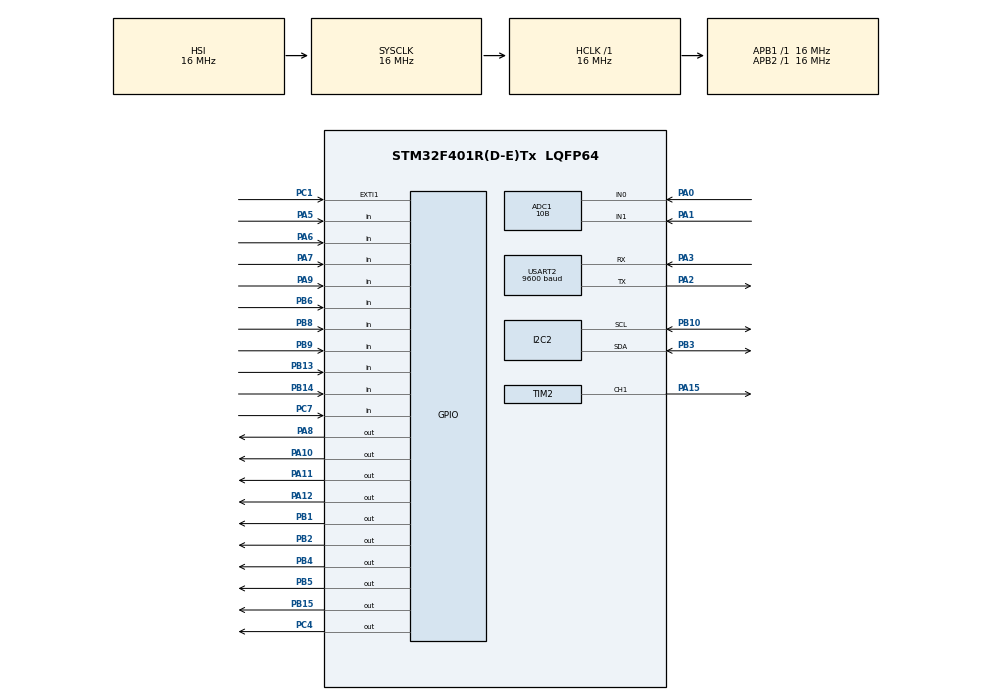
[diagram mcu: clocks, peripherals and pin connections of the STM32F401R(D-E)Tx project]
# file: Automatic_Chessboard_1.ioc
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ADC1.Channel-0\#ChannelRegularConversion=ADC_CHANNEL_0
ADC1.Channel-1\#ChannelRegularConversion=ADC_CHANNEL_1
ADC1.ClockPrescaler=ADC_CLOCK_SYNC_PCLK_DIV4
ADC1.ContinuousConvMode=ENABLE
ADC1.DMAContinuousRequests=ENABLE
ADC1.DiscontinuousConvMode=DISABLE
ADC1.NbrOfConversion=2
ADC1.NbrOfConversionFlag=1
ADC1.Rank-0\#ChannelRegularConversion=1
ADC1.Rank-1\#ChannelRegularConversion=2
ADC1.Resolution=ADC_RESOLUTION_10B
ADC1.SamplingTime-0\#ChannelRegularConversion=ADC_SAMPLETIME_480CYCLES
ADC1.SamplingTime-1\#ChannelRegularConversion=ADC_SAMPLETIME_480CYCLES
ADC1.ScanConvMode=ENABLE
ADC1.master=1
Dma.ADC1.0.Direction=DMA_PERIPH_TO_MEMORY
Dma.ADC1.0.FIFOMode=DMA_FIFOMODE_DISABLE
Dma.ADC1.0.Instance=DMA2_Stream0
Dma.ADC1.0.MemDataAlignment=DMA_MDATAALIGN_WORD
Dma.ADC1.0.MemInc=DMA_MINC_ENABLE
Dma.ADC1.0.Mode=DMA_CIRCULAR
Dma.ADC1.0.PeriphDataAlignment=DMA_PDATAALIGN_WORD
Dma.ADC1.0.PeriphInc=DMA_PINC_DISABLE
Dma.ADC1.0.Priority=DMA_PRIORITY_LOW
Dma.Request0=ADC1
Mcu.Family=STM32F4
Mcu.Name=STM32F401R(D-E)Tx
Mcu.Package=LQFP64
NVIC.DMA2_Stream0_IRQn=true\:0\:0\:false\:false\:true\:false\:true
NVIC.EXTI1_IRQn=true\:0\:0\:false\:false\:true\:true\:true
NVIC.PriorityGroup=NVIC_PRIORITYGROUP_4
NVIC.TIM3_IRQn=true\:0\:0\:false\:false\:true\:true\:true
NVIC.TIM4_IRQn=true\:0\:0\:false\:false\:true\:true\:true
PA0-WKUP.Signal=ADCx_IN0
PA1.Signal=ADCx_IN1
PA10.Signal=GPIO_Output
PA11.Signal=GPIO_Output
PA12.Signal=GPIO_Output
PA15.Signal=S_TIM2_CH1_ETR
PA2.Mode=Asynchronous
PA2.Signal=USART2_TX
PA3.Mode=Asynchronous
PA3.Signal=USART2_RX
PA5.Signal=GPIO_Input
PA6.Signal=GPIO_Input
PA7.Signal=GPIO_Input
PA8.Signal=GPIO_Output
PA9.Signal=GPIO_Input
PB1.Signal=GPIO_Output
PB10.Mode=I2C
PB10.Signal=I2C2_SCL
PB13.Signal=GPIO_Input
PB14.Signal=GPIO_Input
PB15.Signal=GPIO_Output
PB2.Signal=GPIO_Output
PB3.Mode=I2C
PB3.Signal=I2C2_SDA
PB4.Signal=GPIO_Output
PB5.Signal=GPIO_Output
PB6.Signal=GPIO_Input
PB8.Signal=GPIO_Input
PB9.Signal=GPIO_Input
PC1.Signal=GPXTI1
PC4.Signal=GPIO_Output
PC7.Signal=GPIO_Input
ProjectManager.HeapSize=0x200
ProjectManager.StackSize=0x400
ProjectManager.TargetToolchain=SW4STM32
RCC.AHBFreq_Value=16000000
RCC.APB1Freq_Value=16000000
RCC.APB2Freq_Value=16000000
RCC.CortexFreq_Value=16000000
RCC.HSE_VALUE=25000000
RCC.HSI_VALUE=16000000
RCC.LSE_VALUE=32768
RCC.SYSCLKFreq_VALUE=16000000
RCC.VCOOutputFreq_Value=192000000
SH.ADCx_IN0.0=ADC1_IN0,IN0
SH.ADCx_IN1.0=ADC1_IN1,IN1
SH.S_TIM2_CH1_ETR.0=TIM2_CH1,PWM Generation1 CH1
TIM2.Channel-PWM\ Generation1\ CH1=TIM_CHANNEL_1
TIM2.Period=1000-1
TIM2.Prescaler=320-1
TIM3.Period=999
TIM3.Prescaler=15999
TIM4.Period=999
TIM4.Prescaler=15999
USART2.BaudRate=9600
USART2.VirtualMode=VM_ASYNC
VP_TIM2_VS_ClockSourceINT.Mode=Internal
VP_TIM3_VS_ClockSourceINT.Mode=Internal
VP_TIM4_VS_ClockSourceINT.Mode=Internal
board=custom

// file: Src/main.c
/* USER CODE BEGIN Header */
/**
  ******************************************************************************
  * @file           : main.c
  * @brief          : Main program body
  ******************************************************************************
  * @attention
  *
  * <h2><center>&copy; Copyright (c) 2019 STMicroelectronics.
  * All rights reserved.</center></h2>
  *
  * This software component is licensed by ST under BSD 3-Clause license,
  * the "License"; You may not use this file except in compliance with the
  * License. You may obtain a copy of the License at:
  *                        opensource.org/licenses/BSD-3-Clause
  *
  ******************************************************************************
  */
/* USER CODE END Header */

#include "main.h"
#include "adc.h"
#include "dma.h"
#include "i2c.h"
#include "tim.h"
#include "usart.h"
#include "gpio.h"

/* USER CODE BEGIN Includes */
#include "chess_engine/Chess.h"
#include "axis_manager_stm32f4/axis_manager.h"
#include "magnetic_grid_interface_stm32/API_magneticGrid.h"
#include "choice_stm32f4/scelta.h"
/* USER CODE END Includes */

/* USER CODE BEGIN PV */
int MINIMAX_DEPTH = 1;

enum status{
	init=0,
	player_control=1,
	elaboration = 2,
	choose_piece  = 3,
	error = 4,
	end_game = 5
} current_status,prev_stat,origin_error;

int GAME = 0;
int SETTINGS = 1;
/** holds the current game state:
	  *	0 - game isn't over
	  * 1 - game is over with TIE
	  * 2 - game is over with WIN
	  * 3 - game is over with LOOSE */
int GAME_STATUS = 0;
/** 1 - two players mode
	  * 2(0) - player vs. AI mode */
	int TWO_PLAYERS_MODE = 0;
/** 0 - black
	  * 1 - white */
	int WHITE_TURN = 1;
/** 1 - player is white
	  * 0 - player is black */
	int PLAYER_WHITE = 0;
/** the board */

//----Game settings----//
/** 0 - no check
 *  1 - check on X player */
int CHECK_ON_WHITE = 0;
int CHECK_ON_BLACK = 0;
/* USER CODE END PV */

void SystemClock_Config(void);

/* USER CODE BEGIN 0 */
char board[BOARD_SIZE][BOARD_SIZE];
char info_message[16] = "";
char error_message[16];
char end_message[16];
char solver_message[16];
char value_ch;

Axis_manager* axis_manager;
magnetic_grid_manager* grid_manager;
menu_manager* menu_man;
int menu_ch=0;
int counter = 30;
int single_variation = 1;
int ch_i,ch_j;

int check_coherence(char board[BOARD_SIZE][BOARD_SIZE],magnetic_grid_manager* grid_manager){
	int i,j,tmp;
	for(i = 0;i < 8;i++){
		if(!PLAYER_WHITE){
			tmp = i;
			i =7-i;
		}
		for(j =0;j<8;j++){
			if((board[j][i] == EMPTY && (grid_manager->magnetic_grid)[i][j] == 1) ||
					(board[j][i] != EMPTY && (grid_manager->magnetic_grid)[i][j] == 0)){
				ch_i = i;
				ch_j = j;
				return 0;
			}
		}
		if(!PLAYER_WHITE)i =tmp;
	}
	return 1;
}

/* USER CODE END 0 */

int main(void)
{

  /* MCU Configuration--------------------------------------------------------*/

  /* Reset of all peripherals, Initializes the Flash interface and the Systick. */
  HAL_Init();

  /* Configure the system clock */
  SystemClock_Config();

  /* Initialize all configured peripherals */
  MX_GPIO_Init();
  MX_DMA_Init();
  MX_ADC1_Init();
  MX_I2C2_Init();
  MX_TIM2_Init();
  MX_TIM3_Init();
  MX_TIM4_Init();
  MX_USART2_UART_Init();
  /* USER CODE BEGIN 2 */

  	axis_manager = axis_manager_init(&htim2,100,GPIOB,GPIO_PIN_1,GPIOB,GPIO_PIN_2,3,GPIOC,GPIO_PIN_8,GPIOC,GPIO_PIN_5,3,GPIOB,GPIOB,GPIO_PIN_13,GPIO_PIN_14);
	grid_manager = init_magnetic_grid();
	menu_man = menu_manager_init(hadc1);

	HAL_ADC_Start_DMA(&hadc1,menu_man->raw_values,2);

	HAL_TIM_PWM_Start(&htim2,TIM_CHANNEL_1);

	char tmp[MAXCHAR];
	char color_choice[2][MAXCHAR];
	strcpy(color_choice[0],"BLACK\0");
	strcpy(color_choice[1],"WHITE\0");
	char start_choice[1][MAXCHAR];
	strcpy(start_choice[0],"Press to Start\0");
	char piece_choice[4][MAXCHAR];
	strcpy(piece_choice[0],"QUEEN\0");
	strcpy(piece_choice[1],"KNIGHT\0");
	strcpy(piece_choice[2],"BISHOP\0");
	strcpy(piece_choice[3],"ROOK\0");
	int piece_ch = 0;

	createMenu(menu_man,"Choose color\0",color_choice,2,&PLAYER_WHITE,1);
	createMenu(menu_man,"Are you ready?\0",start_choice,1,NULL,1);
	createMenu(menu_man,"Piece Choose\0",piece_choice,4,&piece_ch,0);

	prev_stat = init;
	init_board(board);

	lcd_send_string("Reset Motors'",1);
	HAL_Delay(10);
	lcd_send_string("Position",2);
	HAL_Delay(10);

	axis_manager_reset_position(axis_manager);

    /* EXTI interrupt init*/
      HAL_NVIC_SetPriority(EXTI1_IRQn, 0, 0);
      HAL_NVIC_EnableIRQ(EXTI1_IRQn);

	read_magnetic_grid(grid_manager,0);
	if(!check_restoring(grid_manager)){
		current_status = error;
		htim3.Init.Prescaler = 15999;
		htim3.Init.Period = 999;
		HAL_TIM_Base_Start_IT(&htim3);
		origin_error = init;
		sprintf(error_message,"Illegal init");
		sprintf(solver_message,"Repos %c%d",'H'-ch_j,8-ch_i);
	}
	else {
		current_status = init;
	    show_menu(menu_man,0,0);
	}

  /* USER CODE END 2 */

  /* Infinite loop */
  while (1)
  {

    /* USER CODE BEGIN 3 */
	  if(prev_stat != current_status){
	  		  lcd_clear();
	  		  HAL_Delay(10);
	  		  if(current_status == init){
	  			  if(prev_stat == end_game || prev_stat == error){
	  				  	  	init_board(board);
	  					  	reset_magnetic_grid(grid_manager);
	  					  	lcd_send_string("Reset Motors'",1);
	  					  	HAL_Delay(10);
	  					  	lcd_send_string("Position",2);
	  					  	HAL_Delay(10);
	  					  	axis_manager_reset_position(axis_manager);
	  			  }
	  			if(prev_stat == end_game  && !check_restoring(grid_manager)){
	  					current_status = error;
	  					htim3.Init.Prescaler = 15999;
	  					htim3.Init.Period = 999;
	  					HAL_TIM_Base_Start_IT(&htim3);
	  					origin_error = init;

	  					sprintf(error_message,"Illegal init");
	  					sprintf(solver_message,"Repos %c%d",'H'-ch_j,8-ch_i);
	  			}
	  			  show_menu(menu_man,0,0);
	  			  HAL_Delay(10);
	  			  reset_magnetic_grid(grid_manager);
	  		  }
	  		  else if(current_status == choose_piece) show_menu(menu_man,2,0);
	  		prev_stat = current_status;

	  }

	if ( current_status == init )
	{
		DO_DEBUG
		(
			printf("user color is: %d\n", PLAYER_WHITE);
			printf("minmax depth is: %d\n", MINIMAX_DEPTH);
			printf("next player is: %d\n", WHITE_TURN);
			printf("game mode is: %d\n", TWO_PLAYERS_MODE);
		)
		if(menu_ch){
			next_menu(menu_man);
			menu_ch = 0;
		}
		else change_menu(menu_man);
		change_choice(menu_man);
	}
	else if ( current_status == player_control )
	{
		lcd_send_string ("Player turn\0", 1);
		lcd_send_string (info_message, 2);

		HAL_Delay(10);
	}
	else if(current_status == elaboration){
		lcd_send_string ("Elaboration\0", 1);
		play_computer_turn(board);

		read_magnetic_grid(grid_manager,0);
		if(check_coherence(board,grid_manager)){
			update_magnetic_grid(grid_manager);
			single_variation = 1;
			current_status = player_control;
			htim3.Init.Prescaler = 15999;
			htim3.Init.Period = 99;
			HAL_TIM_Base_Start_IT(&htim3);
		}
		else{
			current_status = error;
			origin_error = elaboration;
			strcpy(solver_message,info_message);
			sprintf(error_message,"Error piece");
			htim3.Init.Prescaler = 15999;
			htim3.Init.Period = 9999;
			HAL_TIM_Base_Start_IT(&htim3);
		}

		if ( GAME && (GAME_STATUS = game_over(board)) ) {
			GAME = 0;
		}
		if( !GAME && !SETTINGS ) // end the game
		{
			// declare_winner();
			if(GAME_STATUS == 1) strcpy(end_message,"Tie match");
			else if(GAME_STATUS == 2) strcpy(end_message,"White wins");
			else if(GAME_STATUS == 3) strcpy(end_message,"Black wins");
			current_status = end_game;
		}
		if( GAME && is_check(board, WHITE_TURN)) strcpy(info_message,"CHECK");
		else strcpy(info_message,"");

		WHITE_TURN = (WHITE_TURN + 1)%2;

	}
	else if(current_status == choose_piece){
		change_choice(menu_man);
		switch(piece_ch){
			case 0:
				value_ch = (PLAYER_WHITE)? WHITE_Q:BLACK_Q;
				break;
			case 1:
				value_ch = (PLAYER_WHITE)? WHITE_N:BLACK_N;
				break;
			case 2:
				value_ch = (PLAYER_WHITE)? WHITE_B:BLACK_B;
				break;
			case 3:
				value_ch = (PLAYER_WHITE)? WHITE_R:BLACK_R;
				break;
			default:
				value_ch = (PLAYER_WHITE)? WHITE_Q:BLACK_Q;
				break;
		}
	}
	else if(current_status == error){
		sprintf(tmp,"%2d %s",counter,solver_message);
		lcd_send_string (error_message, 1);
		lcd_send_string (tmp, 2);
		HAL_Delay(10);

		if(counter <= 0){
			current_status = end_game;
			strcpy(end_message,"You lose\0");
		    HAL_TIM_Base_Stop_IT(&htim3);
		}
	}
	else if(current_status == end_game){
		lcd_send_string (end_message, 1);
		lcd_send_string ("Press to restart", 2);
		HAL_Delay(10);
	}

  }
  /* USER CODE END 3 */
}

void SystemClock_Config(void)
{
  RCC_OscInitTypeDef RCC_OscInitStruct = {0};
  RCC_ClkInitTypeDef RCC_ClkInitStruct = {0};

  /** Configure the main internal regulator output voltage
  */
  __HAL_RCC_PWR_CLK_ENABLE();
  __HAL_PWR_VOLTAGESCALING_CONFIG(PWR_REGULATOR_VOLTAGE_SCALE2);
  /** Initializes the CPU, AHB and APB busses clocks
  */
  RCC_OscInitStruct.OscillatorType = RCC_OSCILLATORTYPE_HSI;
  RCC_OscInitStruct.HSIState = RCC_HSI_ON;
  RCC_OscInitStruct.HSICalibrationValue = RCC_HSICALIBRATION_DEFAULT;
  RCC_OscInitStruct.PLL.PLLState = RCC_PLL_NONE;
  if (HAL_RCC_OscConfig(&RCC_OscInitStruct) != HAL_OK)
  {
    Error_Handler();
  }
  /** Initializes the CPU, AHB and APB busses clocks
  */
  RCC_ClkInitStruct.ClockType = RCC_CLOCKTYPE_HCLK|RCC_CLOCKTYPE_SYSCLK
                              |RCC_CLOCKTYPE_PCLK1|RCC_CLOCKTYPE_PCLK2;
  RCC_ClkInitStruct.SYSCLKSource = RCC_SYSCLKSOURCE_HSI;
  RCC_ClkInitStruct.AHBCLKDivider = RCC_SYSCLK_DIV1;
  RCC_ClkInitStruct.APB1CLKDivider = RCC_HCLK_DIV1;
  RCC_ClkInitStruct.APB2CLKDivider = RCC_HCLK_DIV1;

  if (HAL_RCC_ClockConfig(&RCC_ClkInitStruct, FLASH_LATENCY_0) != HAL_OK)
  {
    Error_Handler();
  }
}

/* USER CODE BEGIN 4 */
// Button interrupt management, switch state
void HAL_GPIO_EXTI_Callback(uint16_t GPIO_Pin){

	if(GPIO_Pin == GPIO_PIN_1 && current_status != elaboration){
		enum status next_state = current_status;
		int player_stat;
		switch(current_status){
			case init:
				if(menu_man->current_menu == 1){
					if(settings_input_manager() == -1){
						next_state = init;
						PLAYER_WHITE = 0;
						WHITE_TURN = 1;
					}
					else{
						next_state = (PLAYER_WHITE == 1)? player_control:elaboration;
						set_invalid_menu(menu_man,0);
						set_invalid_menu(menu_man,1);

						single_variation = 1;
						htim3.Init.Prescaler = 15999;
						htim3.Init.Period = 99; //Check 100ms
						HAL_TIM_Base_Start_IT(&htim3);
					}
				}
				else menu_ch = 1;
				break;
			case player_control:
				if(strcmp(info_message,"CHECK") == 0){
					strcpy(end_message,"You win!");
					next_state = end_game;
				}
				player_stat = player_input_game_manager();
				if(player_stat == 0){
					next_state = elaboration;
					WHITE_TURN = (WHITE_TURN + 1)%2;
					HAL_TIM_Base_Stop_IT(&htim3);
				}
				else if(player_stat == 2){
					next_state = choose_piece;
					WHITE_TURN = (WHITE_TURN + 1)%2;
					HAL_TIM_Base_Stop_IT(&htim3);
				}
				else{
					HAL_TIM_Base_Stop_IT(&htim3);
					next_state = error;
					origin_error = player_control;
					htim3.Init.Prescaler = 15999;
					htim3.Init.Period = 999;
					HAL_TIM_Base_Start_IT(&htim3);
				}
				break;
			case choose_piece:
				set_invalid_menu(menu_man,2);
				board[ch_i][ch_j] = value_ch;
				next_state = elaboration;
				// make promote player_control
				break;
			case error:
				HAL_TIM_Base_Stop_IT(&htim3);
				counter = 30;
				single_variation = 1;

				read_magnetic_grid(grid_manager, 0);

				int coherence =	check_coherence(board,grid_manager);
				int restoring = check_restoring(grid_manager);

				if((origin_error == elaboration || origin_error == init) && coherence){
					update_magnetic_grid(grid_manager);
					if(origin_error == init) next_state = init;
					else next_state = player_control;
				}
				else if(origin_error == player_control && restoring){
					next_state = player_control;
				}
				else if((origin_error == elaboration || origin_error == init) && !coherence){
					sprintf(solver_message,"Repos %c%d",'H'-ch_j,8-ch_i);
				}
				else if(origin_error == player_control && !restoring){
					sprintf(solver_message,"Repos %c%d",'H'-ch_j,8-ch_i);
				}

				if(next_state == player_control){
					htim3.Init.Prescaler = 15999;
					htim3.Init.Period = 99; //Check 100ms
					free(grid_manager->move_list);
					grid_manager->move_list = NULL;
				}

				HAL_TIM_Base_Start_IT(&htim3);

				break;
			case end_game:
				next_state = init;

				set_valid_menu(menu_man,0);
				set_valid_menu(menu_man,1);

				PLAYER_WHITE = 0;
				WHITE_TURN = 1;
				SETTINGS = 1;
				counter = 30;

				break;
		}
		current_status = next_state;
	}
}

void HAL_TIM_PeriodElapsedCallback(TIM_HandleTypeDef *htim){
		if(htim == &htim3 && current_status == error) counter--;
		else if(htim == &htim3 && current_status == player_control){
			// READ STATUS
			HAL_TIM_Base_Stop_IT(htim);

			if(read_magnetic_grid(grid_manager,1)>1){
				single_variation = 0;
			}

			HAL_TIM_Base_Start_IT(htim);
		}
		else {
			HAL_NVIC_EnableIRQ(EXTI1_IRQn);
			HAL_TIM_Base_Stop_IT(htim);
		}
}
/* USER CODE END 4 */

void Error_Handler(void)
{
}

/************************ (C) COPYRIGHT STMicroelectronics *****END OF FILE****/
